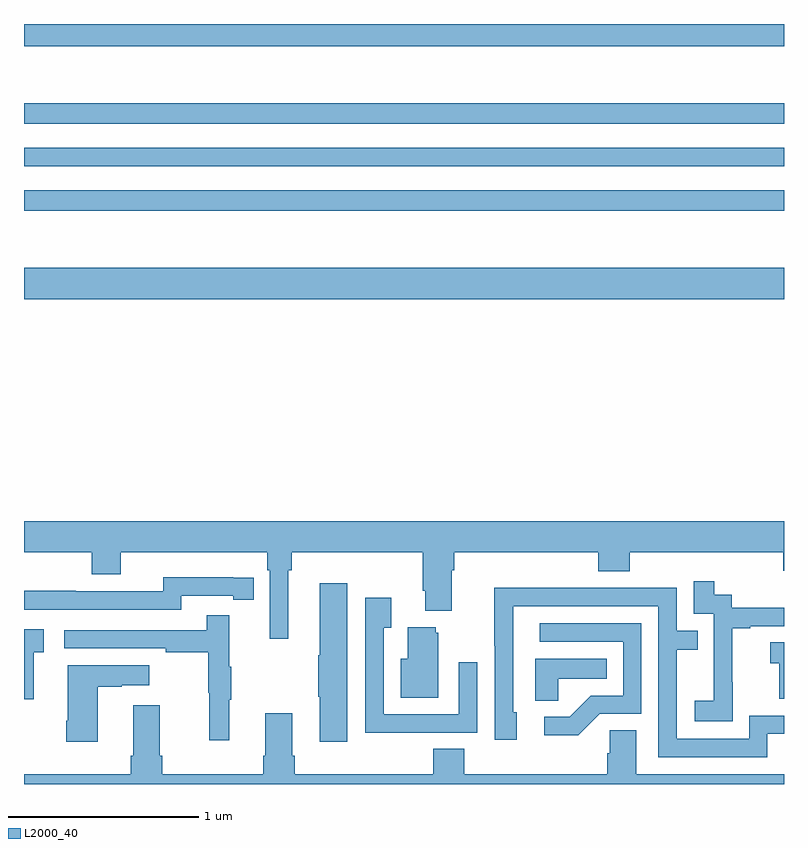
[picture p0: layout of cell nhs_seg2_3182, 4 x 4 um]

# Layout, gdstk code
import gdstk
lib = gdstk.Library(unit=1e-6, precision=1e-09)
def R(c, l, rs):  # rectangles x0, y0, x1, y1
    for r in rs: c.add(gdstk.rectangle(r[:2], r[2:], *l))
def P(c, l, *ps):  # polygons
    for p in ps: c.add(gdstk.Polygon(p, *l))
L2000_40 = (2000, 40)

nhs_seg2_3182 = lib.new_cell('nhs_seg2_3182')
R(nhs_seg2_3182, L2000_40, [(279,598.352,283,598.516), (279,598.818,283,598.926), (279,599.052,283,599.148), (279,599.274,283,599.383), (279,599.684,283,599.8)])
P(nhs_seg2_3182, L2000_40, [(280.39,596.924),(280.409,596.924),(280.409,597.02),(281.099,597.02),(281.099,596.818),(281.111,596.818),(281.111,596.711),(281.251,596.711),(281.251,596.924),(281.264,596.924),(281.264,597.02),(282.023,597.02),(282.023,596.921),(282.188,596.921),(282.188,597.02),(282.995,597.02),(282.995,596.922),(283,596.922),(283,597.184),(279,597.184),(279,597.02),(279.356,597.02),(279.356,596.903),(279.508,596.903),(279.508,597.02),(280.28,597.02),(280.28,596.924),(280.293,596.924),(280.293,596.565),(280.39,596.565)],
  [(279.828,596.79),(280.1,596.79),(280.1,596.77),(280.208,596.77),(280.208,596.886),(280.1,596.886),(280.1,596.887),(279.732,596.887),(279.732,596.814),(279.272,596.814),(279.272,596.816),(279,596.816),(279,596.718),(279.828,596.718)],
  [(282.729,596.335),(282.728,596.335),(282.728,596.619),(282.823,596.619),(282.823,596.631),(283,596.631),(283,596.727),(282.726,596.727),(282.726,596.796),(282.634,596.796),(282.634,596.866),(282.525,596.866),(282.525,596.697),(282.63,596.697),(282.63,596.468),(282.629,596.468),(282.629,596.239),(282.531,596.239),(282.531,596.129),(282.729,596.129)],
  [(280.702,596.857),(280.556,596.857),(280.556,596.477),(280.549,596.477),(280.549,596.26),(280.556,596.26),(280.556,596.022),(280.702,596.022)],
  [(282.913,596.064),(283,596.064),(283,596.16),(282.816,596.16),(282.816,596.037),(282.435,596.037),(282.435,596.506),(282.545,596.506),(282.545,596.607),(282.435,596.607),(282.435,596.832),(281.939,596.832),(281.939,596.834),(281.476,596.834),(281.476,596.527),(281.478,596.527),(281.478,596.034),(281.593,596.034),(281.593,596.178),(281.574,596.178),(281.574,596.736),(282.339,596.736),(282.339,595.941),(282.913,595.941)],
  [(281.069,596.07),(281.385,596.07),(281.385,596.44),(281.289,596.44),(281.289,596.166),(280.893,596.166),(280.893,596.623),(280.933,596.623),(280.933,596.779),(280.797,596.779),(280.797,596.069),(281.069,596.069)],
  [(280.079,596.243),(280.09,596.243),(280.09,596.417),(280.079,596.417),(280.079,596.689),(279.961,596.689),(279.961,596.61),(279.213,596.61),(279.213,596.514),(279.745,596.514),(279.745,596.494),(279.969,596.494),(279.969,596.28),(279.976,596.28),(279.976,596.031),(280.079,596.031)],
  [(282.03,596.169),(282.249,596.169),(282.249,596.646),(281.715,596.646),(281.715,596.55),(282.153,596.55),(282.153,596.265),(281.984,596.265),(281.873,596.154),(281.739,596.154),(281.739,596.057),(281.917,596.057)],
  [(281.179,596.595),(281.168,596.595),(281.168,596.626),(281.021,596.626),(281.021,596.458),(280.982,596.458),(280.982,596.255),(281.179,596.255)],
  [(279.05,596.493),(279.103,596.493),(279.103,596.614),(279,596.614),(279,596.247),(279.05,596.247)],
  [(283,596.545),(282.927,596.545),(282.927,596.435),(282.976,596.435),(282.976,596.25),(283,596.25)],
  [(281.811,596.354),(282.068,596.354),(282.068,596.458),(281.69,596.458),(281.69,596.239),(281.811,596.239)],
  [(279.388,596.311),(279.515,596.311),(279.515,596.321),(279.658,596.321),(279.658,596.425),(279.23,596.425),(279.23,596.134),(279.223,596.134),(279.223,596.022),(279.388,596.022)],
  [(283,595.852),(282.223,595.852),(282.223,596.084),(282.084,596.084),(282.084,595.961),(282.071,595.961),(282.071,595.852),(281.318,595.852),(281.318,595.985),(281.153,595.985),(281.153,595.852),(280.424,595.852),(280.424,595.948),(280.411,595.948),(280.411,596.173),(280.271,596.173),(280.271,595.948),(280.259,595.948),(280.259,595.852),(279.728,595.852),(279.728,595.948),(279.715,595.948),(279.715,596.215),(279.575,596.215),(279.575,595.948),(279.563,595.948),(279.563,595.852),(279,595.852),(279,595.8),(283,595.8)])

lib.write_gds('nhs_seg2_3182.gds')
